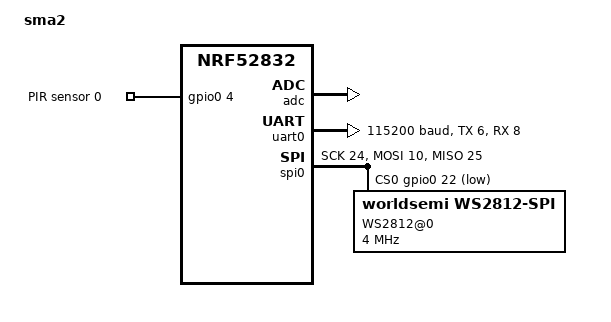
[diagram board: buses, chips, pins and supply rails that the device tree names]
/*
 * Copyright (c) 2017 Shawn Nock <shawn@monadnock.ca>
 * Copyright (c) 2017 Linaro Limited
 *
 * SPDX-License-Identifier: Apache-2.0
 */

/dts-v1/;
#include <nordic/nrf52832_qfaa.dtsi>
#include <dt-bindings/led/led.h>

/ {
	model = "sma2";
	compatible = "nordic,nrf52-dk-nrf52832";

	chosen {
		zephyr,console = &uart0;
		zephyr,shell-uart = &uart0;
		zephyr,uart-mcumgr = &uart0;
		zephyr,bt-mon-uart = &uart0;
		zephyr,bt-c2h-uart = &uart0;
		zephyr,sram = &sram0;
		zephyr,flash = &flash0;
		zephyr,code-partition = &slot0_partition;
	};

	pirs {
		compatible = "gpio-keys";
		pir0: pir_0 {
			gpios = <&gpio0 4 (GPIO_PULL_DOWN | GPIO_ACTIVE_HIGH)>;
			label = "PIR sensor 0";
		};
	};

	aliases {
		pir = &pir0;
	};
};

&adc {
	status = "okay";
};

&gpiote {
	status = "okay";
};

&gpio0 {
	status = "okay";
};

&uart0 {
	status = "okay";
	compatible = "nordic,nrf-uart";
	current-speed = <115200>;
	tx-pin = <6>;
	rx-pin = <8>;
	rx-pull-up;
	rts-pin = <5>;
	cts-pin = <7>;
	cts-pull-up;
};

&spi0 {
	compatible = "nordic,nrf-spi";
	status = "okay";
	sck-pin = <24>;
	mosi-pin = <10>;
	miso-pin = <25>;
	cs-gpios = <&gpio0 22 GPIO_ACTIVE_LOW>;

	led_strip: ws2812@0 {
		compatible = "worldsemi,ws2812-spi";
		label = "WS2812@0";
		reg = <0>;
		spi-max-frequency = <4000000>;
		spi-one-frame = <0x70>;
		spi-zero-frame = <0x40>;
		chain-length = <600>;
		color-mapping = <LED_COLOR_ID_GREEN
				LED_COLOR_ID_RED
				LED_COLOR_ID_BLUE>;
	};
};

&flash0 {
	/*
	 * For more information, see:
	 * https://docs.zephyrproject.org/latest/guides/dts/legacy-macros.html#legacy-flash-partitions
	 */
	partitions {
		compatible = "fixed-partitions";
		#address-cells = <1>;
		#size-cells = <1>;

		boot_partition: partition@0 {
			label = "mcuboot";
			reg = <0x00000000 0xc000>;
		};
		slot0_partition: partition@c000 {
			label = "image-0";
			reg = <0x0000C000 0x32000>;
		};
		slot1_partition: partition@3e000 {
			label = "image-1";
			reg = <0x0003E000 0x32000>;
		};
		scratch_partition: partition@70000 {
			label = "image-scratch";
			reg = <0x00070000 0xa000>;
		};
		storage_partition: partition@7a000 {
			label = "storage";
			reg = <0x0007a000 0x00006000>;
		};
	};
};
